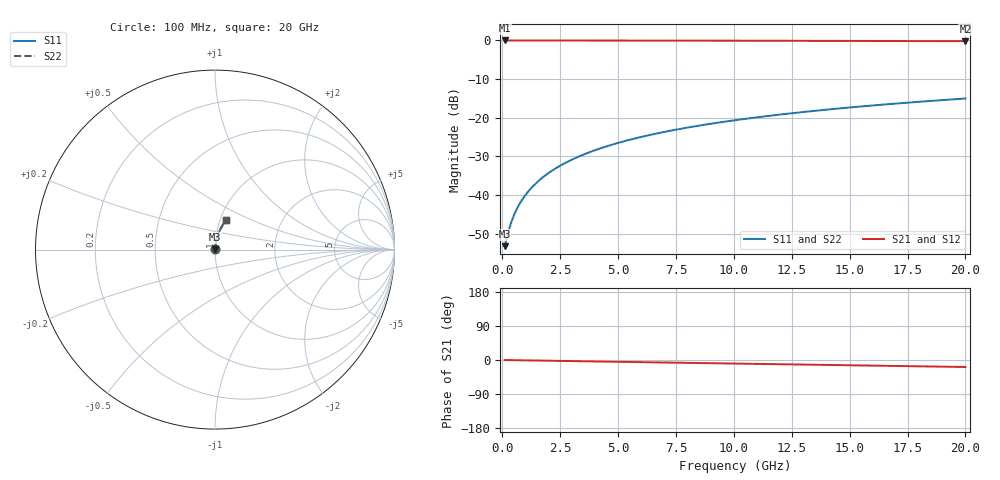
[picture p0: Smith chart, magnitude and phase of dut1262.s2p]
! Touchstone file exported from HFSS 2026.1.0
!  File:  C:/ffzhzh/LocalFiles/Ansys_Project_Files/temp_train_TMRDL_1262_1783164014_43440.aedt
!  Generated:  07:21:26 PM Jul  4, 2026
!  Design:  TMRDL
!  Project:  temp_train_TMRDL_1262_1783164014_43440
! Variables:
!  h_bsmrdl = 2um
!  h_ox = 20um
!  h_rdl = 5um
!  h_sub = 80um
!  h_tmrdl = 3.39um
!  h_tsv = 80um
!  h_via = 3um
!  l_bsmrdl = 300um
!  l_sub = 653.22um
!  l_tmrdl = 253.22um
!  m_sub = 200um
!  pitch = 32.97um
!  r_tsv = 6um
!  s_tmrdl = 10um
!  w_bsmrdl = 18um
!  w_sub = 500um
!  w_tmrdl = 15.29um
!  x_tsv_center1 = 260.865um
!  x_tsv_center2 = 578.865um
!  x_tsv_center3 = 847.375um
!  x_tsv_center4 = 1165.375um
!  x_tsv_center5 = 1433.885um
!  x_tsv_center6 = 1751.885um
# GHz S MA R 50.000000
! Terminal data exported
! Port[1] = TM_RDL1_1_T1
! Port[2] = TM_RDL1_1_T2
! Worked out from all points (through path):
!   200 points, 100 MHz to 20 GHz, reference 50 ohm
!   highest |S21| = -0.02 dB at 100 MHz (marker M1); lowest = -0.2 dB at 20 GHz (marker M2)
!   group delay of S21, straight-line fit = 2.56 ps
!   lowest |S11| = -53.2 dB at 100 MHz (marker M3), VSWR 1.00, Z = 50.2 + j0.104 ohm
!   |S11| at or under -10 dB: start of sweep to end of sweep
!   |S22| runs from -53.2 to -15.0 dB; largest |S21 - S12| = 4.2e-15
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0.1  0.002176 28.5  0.9981 -0.1  0.9981 -0.1  0.002176 28.5
! Gamma 0 0 0 0
! Port Impedance 50 0 50 0
0.3  0.003673 56.4  0.998 -0.3  0.998 -0.3  0.003673 56.4
0.4  0.004551 62.4  0.9979 -0.4  0.9979 -0.4  0.004551 62.4
0.5  0.005446 66.4  0.9978 -0.5  0.9978 -0.5  0.005446 66.4
0.6  0.006348 69.3  0.9978 -0.6  0.9978 -0.6  0.006347 69.3
0.8  0.008162 73.1  0.9977 -0.8  0.9977 -0.8  0.008162 73.1
1  0.009989 75.6  0.9976 -1.0  0.9976 -1.0  0.009989 75.6
1.2  0.01183 77.3  0.9976 -1.2  0.9976 -1.2  0.01183 77.3
1.4  0.01368 78.5  0.9975 -1.3  0.9975 -1.3  0.01368 78.5
1.7  0.01646 79.8  0.9974 -1.6  0.9974 -1.6  0.01646 79.8
2.2  0.02113 81.0  0.9972 -2.1  0.9972 -2.1  0.02113 81.0
2.8  0.02673 81.6  0.997 -2.7  0.997 -2.7  0.02673 81.6
3.5  0.03326 81.8  0.9966 -3.3  0.9966 -3.3  0.03326 81.8
4.2  0.03977 81.7  0.9962 -4.0  0.9962 -4.0  0.03977 81.7
5  0.04717 81.3  0.9957 -4.8  0.9957 -4.8  0.04717 81.3
5.9  0.05544 80.8  0.995 -5.6  0.995 -5.6  0.05544 80.8
6.8  0.06365 80.1  0.9942 -6.4  0.9942 -6.4  0.06365 80.1
8.3  0.07717 79.0  0.9928 -7.8  0.9928 -7.8  0.07717 79.0
10.1  0.09317 77.5  0.9908 -9.5  0.9908 -9.5  0.09317 77.5
13.4  0.1219 74.8  0.9868 -12.5  0.9868 -12.5  0.1219 74.8
16.7  0.1499 72.0  0.9822 -15.5  0.9822 -15.5  0.1499 72.0
20  0.1771 69.2  0.9771 -18.5  0.9771 -18.5  0.1771 69.2
